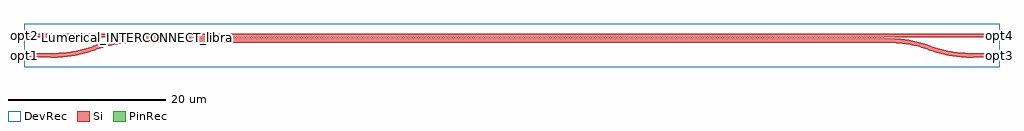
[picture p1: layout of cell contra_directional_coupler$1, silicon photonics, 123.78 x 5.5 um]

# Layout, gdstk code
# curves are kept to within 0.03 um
import gdstk
lib = gdstk.Library(unit=1e-6, precision=1e-09)
def R(c, l, rs):  # rectangles x0, y0, x1, y1
    for r in rs: c.add(gdstk.rectangle(r[:2], r[2:], *l))
def A(c, l, x, y, w, h, nx, ny, dx, dy):  # array of equal rectangles
    R(c, l, [(x+i*dx, y+j*dy, x+i*dx+w, y+j*dy+h) for i in range(nx) for j in range(ny)])
def P(c, l, *ps):  # polygons
    for p in ps: c.add(gdstk.Polygon(p, *l))
Si = (1, 0)
PinRec = (1, 10)
DevRec = (68, 0)

contra_directional_coupl = lib.new_cell('contra_directional_coupler$1')
A(contra_directional_coupl, Si, 0.158, -0.647, 0.158, 0.309, 300, 1, 0.316, 0)
A(contra_directional_coupl, Si, 0.316, -0.597, 0.158, 0.259, 300, 1, 0.316, 0)
A(contra_directional_coupl, Si, 0, -0.338, 0.158, 0.309, 300, 1, 0.316, 0)
A(contra_directional_coupl, Si, 0.158, -0.338, 0.158, 0.259, 300, 1, 0.316, 0)
A(contra_directional_coupl, Si, 0, 0.042, 0.158, 0.236, 300, 1, 0.316, 0)
A(contra_directional_coupl, Si, 0.158, 0.066, 0.158, 0.212, 300, 1, 0.316, 0)
A(contra_directional_coupl, Si, 0.158, 0.278, 0.158, 0.236, 300, 1, 0.316, 0)
A(contra_directional_coupl, Si, 0.316, 0.278, 0.158, 0.212, 300, 1, 0.316, 0)
R(contra_directional_coupl, Si, [(0,-0.622,0.158,-0.338), (94.8,-0.338,94.958,-0.054), (-5.5,0.054,0,0.502), (94.8,0.054,94.958,0.278), (94.958,0.054,100.458,0.502), (0,0.278,0.158,0.502)])
P(contra_directional_coupl, Si, [(105.69,-2.506),(104.137,-2.427),(102.6,-2.19),(101.343,-1.875),(99.172,-1.161),(97.711,-0.833),(96.473,-0.675),(94.958,-0.622),(94.958,-0.054),(96.262,-0.089),(97.807,-0.273),(99.324,-0.614),(101.504,-1.33),(102.715,-1.634),(104.195,-1.862),(105.958,-1.938),(105.958,-2.506)],
  [(105.958,-2.506),(105.958,-1.938),(109.358,-1.972),(109.358,-2.472)],
  [(109.358,0.028),(100.458,0.054),(100.458,0.502),(109.358,0.528)],
  [(-11,-2.506),(-11,-1.938),(-9.237,-1.862),(-7.757,-1.634),(-6.546,-1.33),(-4.366,-0.614),(-2.849,-0.273),(-1.304,-0.089),(0,-0.054),(0,-0.622),(-1.763,-0.698),(-3.243,-0.926),(-4.454,-1.23),(-6.634,-1.946),(-8.151,-2.287),(-9.696,-2.471)],
  [(-11,-2.506),(-14.4,-2.472),(-14.4,-1.972),(-11,-1.938)],
  [(-14.4,0.028),(-14.4,0.528),(-5.5,0.502),(-5.5,0.054)])
R(contra_directional_coupl, DevRec, [(-14.4,-3.722,109.358,1.778)])
contra_directional_coupl.add(gdstk.FlexPath([(-14.39,-2.222),(-14.41,-2.222)], 0.5, ends="flush", simple_path=True, layer=1, datatype=10))  # PinRec
contra_directional_coupl.add(gdstk.FlexPath([(-14.39,0.278),(-14.41,0.278)], 0.5, ends="flush", simple_path=True, layer=1, datatype=10))  # PinRec
contra_directional_coupl.add(gdstk.FlexPath([(109.348,-2.222),(109.368,-2.222)], 0.5, ends="flush", simple_path=True, layer=1, datatype=10))  # PinRec
contra_directional_coupl.add(gdstk.FlexPath([(109.348,0.278),(109.368,0.278)], 0.5, ends="flush", simple_path=True, layer=1, datatype=10))  # PinRec
contra_directional_coupl.add(gdstk.Label('opt1', (-14.4,-2.222), layer=1, texttype=10))
contra_directional_coupl.add(gdstk.Label('opt2', (-14.4,0.278), layer=1, texttype=10))
contra_directional_coupl.add(gdstk.Label('opt3', (109.358,-2.222), layer=1, texttype=10))
contra_directional_coupl.add(gdstk.Label('opt4', (109.358,0.278), layer=1, texttype=10))
contra_directional_coupl.add(gdstk.Label('Lumerical_INTERCONNECT_library=Design kits/EBeam', (0,0), layer=68, texttype=0))
contra_directional_coupl.add(gdstk.Label('Component=contra_directional_coupler', (0,0.1), layer=68, texttype=0))

lib.write_gds('contra_directional_coupler_1.gds')
